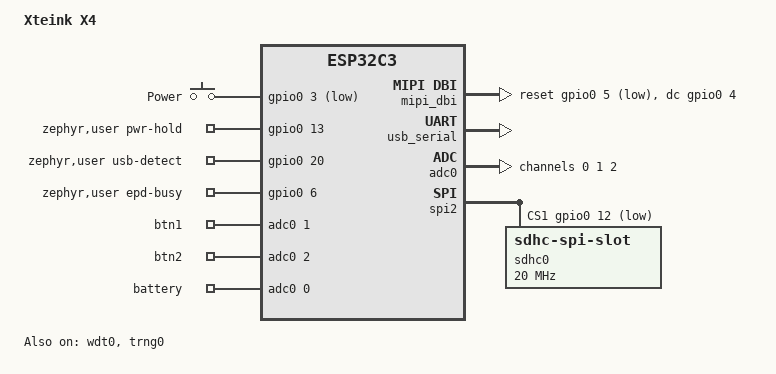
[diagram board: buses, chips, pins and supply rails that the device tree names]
/*
 * SPDX-License-Identifier: MIT
 */

/dts-v1/;

#include <espressif/esp32c3/esp32c3_mini_n4.dtsi>
#include "xteink_x4-pinctrl.dtsi"
#include <zephyr/dt-bindings/gpio/gpio.h>
#include <zephyr/dt-bindings/adc/adc.h>
#include <zephyr/dt-bindings/input/input-event-codes.h>
#include <espressif/partitions_0x0_default_16M.dtsi>

/ {
	model = "Xteink X4";
	compatible = "xteink,xteink-x4", "espressif,esp32c3";

	chosen {
		zephyr,sram = &sram1;
		zephyr,console = &usb_serial;
		zephyr,shell-uart = &usb_serial;
		zephyr,flash = &flash0;
		zephyr,code-partition = &slot0_partition;
	};

	aliases {
		sw0 = &power_button;
		watchdog0 = &wdt0;
	};

	buttons {
		compatible = "gpio-keys";

		power_button: power-button {
			label = "Power";
			gpios = <&gpio0 3 (GPIO_PULL_UP | GPIO_ACTIVE_LOW)>;
			zephyr,code = <INPUT_KEY_POWER>;
		};
	};

	zephyr,user {
		pwr-hold-gpios = <&gpio0 13 GPIO_ACTIVE_HIGH>;
		usb-detect-gpios = <&gpio0 20 GPIO_ACTIVE_HIGH>;
		epd-busy-gpios = <&gpio0 6 GPIO_ACTIVE_HIGH>;
		io-channels = <&adc0 1>, <&adc0 2>, <&adc0 0>;
		io-channel-names = "btn1", "btn2", "battery";
	};

	/* MIPI-DBI wiring only. Do not attach an in-tree panel driver: most
	 * X4 units are SSD1677, which Zephyr 4.4 does not support. HAL owns
	 * the 48 KB framebuffer.
	 */
	mipi_dbi {
		compatible = "zephyr,mipi-dbi-spi";
		dc-gpios = <&gpio0 4 GPIO_ACTIVE_HIGH>;
		reset-gpios = <&gpio0 5 GPIO_ACTIVE_LOW>;
		spi-dev = <&spi2>;
		write-only;
		#address-cells = <1>;
		#size-cells = <0>;
	};
};

&flash0 {
	reg = <0x0 DT_SIZE_M(16)>;
};

&usb_serial {
	status = "okay";
};

&gpio0 {
	status = "okay";
};

&wdt0 {
	status = "okay";
};

&trng0 {
	status = "okay";
};

&adc0 {
	status = "okay";
	#address-cells = <1>;
	#size-cells = <0>;

	channel@0 {
		reg = <0>;
		zephyr,gain = "ADC_GAIN_1_4";
		zephyr,reference = "ADC_REF_INTERNAL";
		zephyr,acquisition-time = <ADC_ACQ_TIME_DEFAULT>;
		zephyr,resolution = <12>;
	};

	channel@1 {
		reg = <1>;
		zephyr,gain = "ADC_GAIN_1_4";
		zephyr,reference = "ADC_REF_INTERNAL";
		zephyr,acquisition-time = <ADC_ACQ_TIME_DEFAULT>;
		zephyr,resolution = <12>;
	};

	channel@2 {
		reg = <2>;
		zephyr,gain = "ADC_GAIN_1_4";
		zephyr,reference = "ADC_REF_INTERNAL";
		zephyr,acquisition-time = <ADC_ACQ_TIME_DEFAULT>;
		zephyr,resolution = <12>;
	};
};

&spi2 {
	#address-cells = <1>;
	#size-cells = <0>;
	status = "okay";
	pinctrl-0 = <&spim2_default>;
	pinctrl-names = "default";
	cs-gpios = <&gpio0 21 GPIO_ACTIVE_LOW>,
		   <&gpio0 12 GPIO_ACTIVE_LOW>;

	sdhc0: sdhc@1 {
		compatible = "zephyr,sdhc-spi-slot";
		reg = <1>;
		status = "okay";
		spi-max-frequency = <20000000>;

		mmc {
			compatible = "zephyr,sdmmc-disk";
			disk-name = "SD";
			status = "okay";
		};
	};
};
